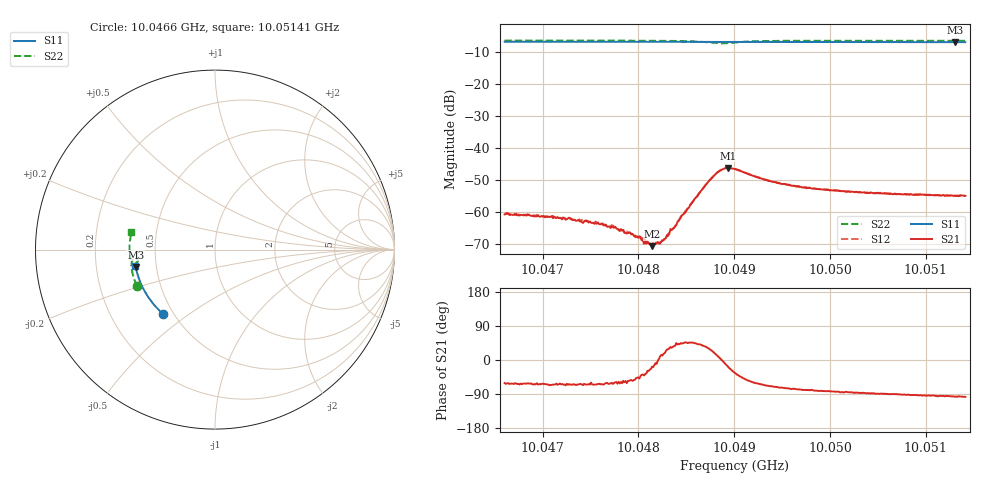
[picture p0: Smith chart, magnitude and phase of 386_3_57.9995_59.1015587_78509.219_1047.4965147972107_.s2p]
#  HZ  S  RI  R  50.00
! Rohde & Schwarz Vector Network Analyzer
! Rohde-Schwarz,ZNB20-2Port,1311601062101988,3.16
! Created: UTC 3/21/2024, 1:07:39 AM
! freq[Hz]  re:S11  im:S11  re:S21  im:S21  re:S12  im:S12  re:S22  im:S22
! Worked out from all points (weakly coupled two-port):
!   401 points, 10.0466 GHz to 10.05141 GHz, reference 50 ohm
!   highest |S21| = -46.13 dB at 10.04894 GHz (marker M1); lowest = -70.5 dB at 10.04814 GHz (marker M2)
!   lowest |S11| = -6.9 dB at 10.05131 GHz (marker M3), VSWR 2.65, Z = 19.1 - j4.65 ohm
!   |S11| at or under -10 dB: nowhere
!   |S22| runs from -7.3 to -6.4 dB; largest |S21 - S12| = 0.00037
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1.0046603e10  -0.2885 -0.359  0.000454 -0.00081  0.000526 -0.00082  -0.4356 -0.2031
1.0047277e10  -0.3207 -0.3284  0.000368 -0.000739  0.00039 -0.000722  -0.4517 -0.1606
1.0047409e10  -0.3267 -0.3219  0.000308 -0.000639  0.000381 -0.00066  -0.4544 -0.1518
1.0047469e10  -0.3296 -0.319  0.000316 -0.000666  0.000357 -0.000631  -0.4553 -0.1478
1.0047746e10  -0.3416 -0.3054  0.000282 -0.000501  0.000312 -0.000509  -0.4603 -0.1288
1.0047999e10  -0.3518 -0.2923  0.000284 -0.000293  0.000305 -0.000262  -0.4636 -0.1107
1.0048059e10  -0.3544 -0.2892  0.000245 -0.000211  0.000312 -0.000223  -0.4643 -0.1062
1.0048095e10  -0.3558 -0.2872  0.000312 -0.00017  0.000307 -0.000151  -0.4647 -0.1035
1.0048143e10  -0.3577 -0.2848  0.000283 -8.96e-05  0.000305 -7.89e-05  -0.4652 -0.0998
1.0048215e10  -0.3605 -0.2811  0.000325 1.56e-05  0.000326 2.12e-05  -0.4655 -0.0939
1.0048287e10  -0.3633 -0.2772  0.000363 0.000158  0.000364 0.000176  -0.4658 -0.0879
1.0048359e10  -0.366 -0.2732  0.000456 0.000318  0.000431 0.000344  -0.4654 -0.0819
1.0048468e10  -0.3701 -0.2673  0.000661 0.000649  0.000602 0.000737  -0.4643 -0.0719
1.0048756e10  -0.3802 -0.2514  0.00295 0.00147  0.00289 0.00162  -0.4432 -0.0487
1.0048853e10  -0.3833 -0.2461  0.00446 0.000354  0.00446 0.00062  -0.4307 -0.0552
1.0048937e10  -0.3861 -0.2414  0.00471 -0.0015  0.00481 -0.00123  -0.4317 -0.0681
1.0049009e10  -0.3887 -0.2375  0.0039 -0.00265  0.0041 -0.00244  -0.4412 -0.0736
1.0049406e10  -0.4011 -0.2146  0.00101 -0.00282  0.00118 -0.00278  -0.4709 -0.045
1.0049815e10  -0.4126 -0.1903  0.000452 -0.0023  0.000515 -0.00233  -0.4759 -0.0127
1.0050621e10  -0.4308 -0.1408  -3.83e-06 -0.00193  0.000133 -0.00198  -0.4747 0.0438
1.0051307e10  -0.4414 -0.0971  -0.000226 -0.00181  -8.01e-05 -0.00181  -0.4678 0.0896
1.0051415e10  -0.443 -0.09  -0.000231 -0.00179  -0.000138 -0.00182  -0.4664 0.0965
